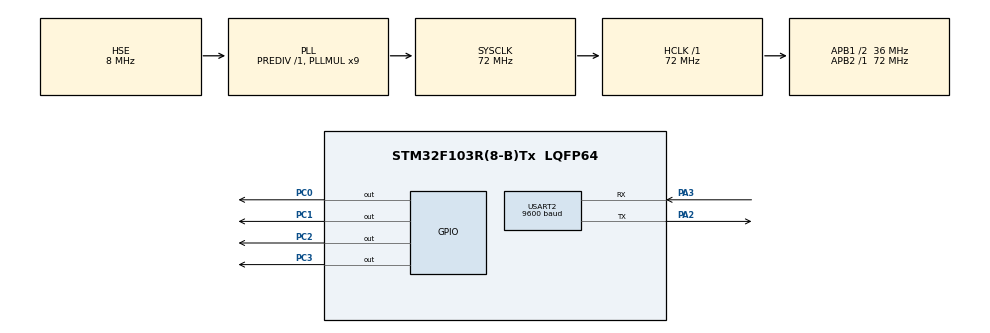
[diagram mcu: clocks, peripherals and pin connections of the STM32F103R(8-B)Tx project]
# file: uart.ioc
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Mcu.Family=STM32F1
Mcu.Name=STM32F103R(8-B)Tx
Mcu.Package=LQFP64
NVIC.PriorityGroup=NVIC_PRIORITYGROUP_4
NVIC.USART2_IRQn=true\:0\:0\:false\:false\:true\:true\:true
PA13.Mode=Serial_Wire
PA13.Signal=SYS_JTMS-SWDIO
PA14.Mode=Serial_Wire
PA14.Signal=SYS_JTCK-SWCLK
PA2.Mode=Asynchronous
PA2.Signal=USART2_TX
PA3.Mode=Asynchronous
PA3.Signal=USART2_RX
PC0.Signal=GPIO_Output
PC1.Signal=GPIO_Output
PC2.Signal=GPIO_Output
PC3.Signal=GPIO_Output
PD0-OSC_IN.Mode=HSE-External-Oscillator
PD0-OSC_IN.Signal=RCC_OSC_IN
PD1-OSC_OUT.Mode=HSE-External-Oscillator
PD1-OSC_OUT.Signal=RCC_OSC_OUT
ProjectManager.HeapSize=0x200
ProjectManager.StackSize=0x400
ProjectManager.TargetToolchain=STM32CubeIDE
RCC.AHBFreq_Value=72000000
RCC.APB1CLKDivider=RCC_HCLK_DIV2
RCC.APB1Freq_Value=36000000
RCC.APB1TimFreq_Value=72000000
RCC.APB2Freq_Value=72000000
RCC.APB2TimFreq_Value=72000000
RCC.HCLKFreq_Value=72000000
RCC.PLLMUL=RCC_PLL_MUL9
RCC.PLLSourceVirtual=RCC_PLLSOURCE_HSE
RCC.SYSCLKFreq_VALUE=72000000
RCC.SYSCLKSource=RCC_SYSCLKSOURCE_PLLCLK
RCC.USBFreq_Value=72000000
USART2.BaudRate=9600
USART2.VirtualMode=VM_ASYNC
board=custom

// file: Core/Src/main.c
/* USER CODE BEGIN Header */
/**
  ******************************************************************************
  * @file           : main.c
  * @brief          : Main program body
  ******************************************************************************
  * @attention
  *
  * Copyright (c) 2022 STMicroelectronics.
  * All rights reserved.
  *
  * This software is licensed under terms that can be found in the LICENSE file
  * in the root directory of this software component.
  * If no LICENSE file comes with this software, it is provided AS-IS.
  *
  ******************************************************************************
  */
/* USER CODE END Header */
#include "main.h"

/* USER CODE BEGIN Includes */
#include <stdio.h>
#include <string.h>
/* USER CODE END Includes */

UART_HandleTypeDef huart2;

void SystemClock_Config(void);
static void MX_GPIO_Init(void);
static void MX_USART2_UART_Init(void);

/* USER CODE BEGIN 0 */

// using printf to UART (at printf exec, exec this function)
int _write(int file, char *ptr, int len) {
	// int DataIdx;
	HAL_UART_Transmit(&huart2, ptr, len, 1000);
	return len;
}

uint8_t rxUart2Data = 0;
uint8_t rxUart2Tail = 0;
uint8_t rxUart2ReadyFlag = 0;
uint8_t rxUart2Buff[50] = {0, };

__weak void HAL_UART_RxCpltCallback(UART_HandleTypeDef *huart) {
	// when interrupt at USART2
	if(huart->Instance == USART2) {
		if (rxUart2Data == 0x0a) { // EOF
			rxUart2Buff[rxUart2Tail] = '\0';
			rxUart2Tail = 0;
			rxUart2ReadyFlag = 1;
		}
		else {
			rxUart2Buff[rxUart2Tail] = rxUart2Data;
			rxUart2Tail++;
		}
		HAL_UART_Receive_IT(&huart2, &rxUart2Data, 1);
	}
}
/* USER CODE END 0 */

int main(void)
{

  /* MCU Configuration--------------------------------------------------------*/

  /* Reset of all peripherals, Initializes the Flash interface and the Systick. */
  HAL_Init();

  /* Configure the system clock */
  SystemClock_Config();

  /* Initialize all configured peripherals */
  MX_GPIO_Init();
  MX_USART2_UART_Init();
  /* USER CODE BEGIN 2 */
  HAL_UART_Receive_IT(&huart2, &rxUart2Data, 1);
  /* USER CODE END 2 */

  /* Infinite loop */
  /* USER CODE BEGIN WHILE */
  while (1)
  {
	  if (rxUart2ReadyFlag) {
		  rxUart2ReadyFlag = 0;
		  if(strncmp((char *)rxUart2Buff, "LED1", 4) == 0) {
			  if(strncmp((char *)&rxUart2Buff[4], "ON", 2) == 0) {
				  HAL_GPIO_WritePin(GPIOC, GPIO_PIN_0, GPIO_PIN_SET);
				  printf("%s\n", rxUart2Buff);
			  }
			  else if(strncmp((char *)&rxUart2Buff[4], "OFF", 3) == 0) {
				  HAL_GPIO_WritePin(GPIOC, GPIO_PIN_0, GPIO_PIN_RESET);
				  printf("%s\n", rxUart2Buff);
			  }
		  }
		  else if(strncmp((char *)rxUart2Buff, "LED2", 4) == 0) {
			  if(strncmp((char *)&rxUart2Buff[4], "ON", 2) == 0) {
				  HAL_GPIO_WritePin(GPIOC, GPIO_PIN_1, GPIO_PIN_SET);
				  printf("%s\n", rxUart2Buff);
			  }
			  else if(strncmp((char *)&rxUart2Buff[4], "OFF", 3) == 0) {
				  HAL_GPIO_WritePin(GPIOC, GPIO_PIN_1, GPIO_PIN_RESET);
				  printf("%s\n", rxUart2Buff);
			  }
		  }
		  else if(strncmp((char *)rxUart2Buff, "LED3", 4) == 0) {
			  if(strncmp((char *)&rxUart2Buff[4], "ON", 2) == 0) {
				  HAL_GPIO_WritePin(GPIOC, GPIO_PIN_2, GPIO_PIN_SET);
				  printf("%s\n", rxUart2Buff);
			  }
			  else if(strncmp((char *)&rxUart2Buff[4], "OFF", 3) == 0) {
				  HAL_GPIO_WritePin(GPIOC, GPIO_PIN_2, GPIO_PIN_RESET);
				  printf("%s\n", rxUart2Buff);
			  }
		  }
		  else if(strncmp((char *)rxUart2Buff, "LED4", 4) == 0) {
			  if(strncmp((char *)&rxUart2Buff[4], "ON", 2) == 0) {
				  HAL_GPIO_WritePin(GPIOC, GPIO_PIN_3, GPIO_PIN_SET);
				  printf("%s\n", rxUart2Buff);
			  }
			  else if(strncmp((char *)&rxUart2Buff[4], "OFF", 3) == 0) {
				  HAL_GPIO_WritePin(GPIOC, GPIO_PIN_3, GPIO_PIN_RESET);
				  printf("%s\n", rxUart2Buff);
			  }
		  }
	  }
    /* USER CODE END WHILE */

  }
}

void SystemClock_Config(void)
{
  RCC_OscInitTypeDef RCC_OscInitStruct = {0};
  RCC_ClkInitTypeDef RCC_ClkInitStruct = {0};

  /** Initializes the RCC Oscillators according to the specified parameters
  * in the RCC_OscInitTypeDef structure.
  */
  RCC_OscInitStruct.OscillatorType = RCC_OSCILLATORTYPE_HSE;
  RCC_OscInitStruct.HSEState = RCC_HSE_ON;
  RCC_OscInitStruct.HSEPredivValue = RCC_HSE_PREDIV_DIV1;
  RCC_OscInitStruct.HSIState = RCC_HSI_ON;
  RCC_OscInitStruct.PLL.PLLState = RCC_PLL_ON;
  RCC_OscInitStruct.PLL.PLLSource = RCC_PLLSOURCE_HSE;
  RCC_OscInitStruct.PLL.PLLMUL = RCC_PLL_MUL9;
  if (HAL_RCC_OscConfig(&RCC_OscInitStruct) != HAL_OK)
  {
    Error_Handler();
  }
  /** Initializes the CPU, AHB and APB buses clocks
  */
  RCC_ClkInitStruct.ClockType = RCC_CLOCKTYPE_HCLK|RCC_CLOCKTYPE_SYSCLK
                              |RCC_CLOCKTYPE_PCLK1|RCC_CLOCKTYPE_PCLK2;
  RCC_ClkInitStruct.SYSCLKSource = RCC_SYSCLKSOURCE_PLLCLK;
  RCC_ClkInitStruct.AHBCLKDivider = RCC_SYSCLK_DIV1;
  RCC_ClkInitStruct.APB1CLKDivider = RCC_HCLK_DIV2;
  RCC_ClkInitStruct.APB2CLKDivider = RCC_HCLK_DIV1;

  if (HAL_RCC_ClockConfig(&RCC_ClkInitStruct, FLASH_LATENCY_2) != HAL_OK)
  {
    Error_Handler();
  }
}

static void MX_USART2_UART_Init(void)
{

  huart2.Instance = USART2;
  huart2.Init.BaudRate = 9600;
  huart2.Init.WordLength = UART_WORDLENGTH_8B;
  huart2.Init.StopBits = UART_STOPBITS_1;
  huart2.Init.Parity = UART_PARITY_NONE;
  huart2.Init.Mode = UART_MODE_TX_RX;
  huart2.Init.HwFlowCtl = UART_HWCONTROL_NONE;
  huart2.Init.OverSampling = UART_OVERSAMPLING_16;
  if (HAL_UART_Init(&huart2) != HAL_OK)
  {
    Error_Handler();
  }

}

static void MX_GPIO_Init(void)
{
  GPIO_InitTypeDef GPIO_InitStruct = {0};

  /* GPIO Ports Clock Enable */
  __HAL_RCC_GPIOD_CLK_ENABLE();
  __HAL_RCC_GPIOC_CLK_ENABLE();
  __HAL_RCC_GPIOA_CLK_ENABLE();

  /*Configure GPIO pin Output Level */
  HAL_GPIO_WritePin(GPIOC, GPIO_PIN_0|GPIO_PIN_1|GPIO_PIN_2|GPIO_PIN_3, GPIO_PIN_RESET);

  /*Configure GPIO pins : PC0 PC1 PC2 PC3 */
  GPIO_InitStruct.Pin = GPIO_PIN_0|GPIO_PIN_1|GPIO_PIN_2|GPIO_PIN_3;
  GPIO_InitStruct.Mode = GPIO_MODE_OUTPUT_PP;
  GPIO_InitStruct.Pull = GPIO_NOPULL;
  GPIO_InitStruct.Speed = GPIO_SPEED_FREQ_LOW;
  HAL_GPIO_Init(GPIOC, &GPIO_InitStruct);

}

void Error_Handler(void)
{
  __disable_irq();
  while (1)
  {
  }
}
